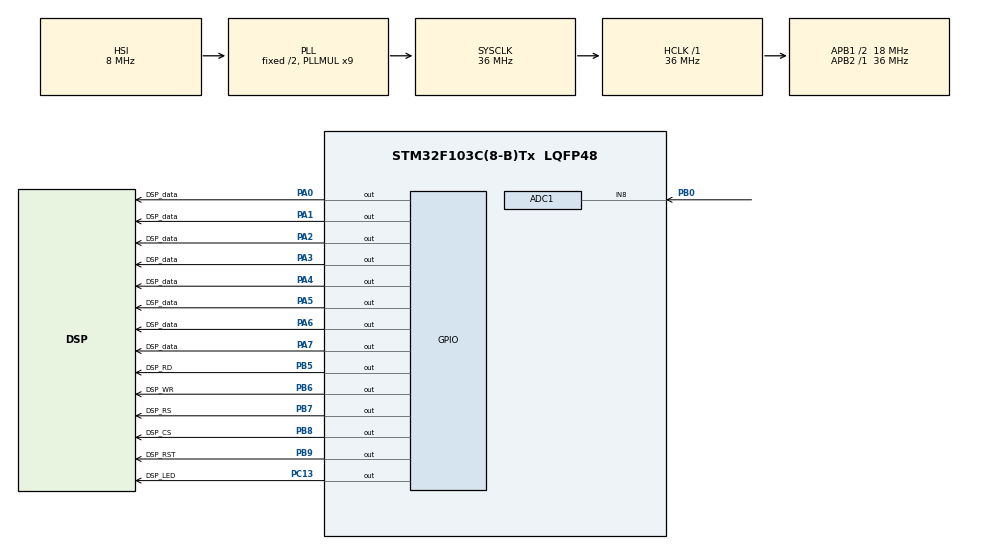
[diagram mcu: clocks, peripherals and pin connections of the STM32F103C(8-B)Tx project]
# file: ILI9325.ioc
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ADC1.Channel-0\#ChannelRegularConversion=ADC_CHANNEL_8
ADC1.ExternalTrigConv=ADC_EXTERNALTRIGCONV_T3_TRGO
ADC1.NbrOfConversionFlag=1
ADC1.Rank-0\#ChannelRegularConversion=1
ADC1.SamplingTime-0\#ChannelRegularConversion=ADC_SAMPLETIME_1CYCLE_5
ADC1.master=1
Mcu.Family=STM32F1
Mcu.Name=STM32F103C(8-B)Tx
Mcu.Package=LQFP48
NVIC.PriorityGroup=NVIC_PRIORITYGROUP_4
NVIC.TIM3_IRQn=true\:0\:0\:false\:false\:true\:true\:true
PA0-WKUP.GPIO_Label=DSP_data
PA0-WKUP.GPIO_ModeDefaultOutputPP=GPIO_MODE_OUTPUT_PP
PA0-WKUP.GPIO_Speed=GPIO_SPEED_FREQ_HIGH
PA0-WKUP.PinState=GPIO_PIN_RESET
PA0-WKUP.Signal=GPIO_Output
PA1.GPIO_Label=DSP_data
PA1.GPIO_ModeDefaultOutputPP=GPIO_MODE_OUTPUT_PP
PA1.GPIO_Speed=GPIO_SPEED_FREQ_HIGH
PA1.PinState=GPIO_PIN_RESET
PA1.Signal=GPIO_Output
PA13.Mode=Serial_Wire
PA13.Signal=SYS_JTMS-SWDIO
PA14.Mode=Serial_Wire
PA14.Signal=SYS_JTCK-SWCLK
PA2.GPIO_Label=DSP_data
PA2.GPIO_ModeDefaultOutputPP=GPIO_MODE_OUTPUT_PP
PA2.GPIO_Speed=GPIO_SPEED_FREQ_HIGH
PA2.PinState=GPIO_PIN_RESET
PA2.Signal=GPIO_Output
PA3.GPIO_Label=DSP_data
PA3.GPIO_ModeDefaultOutputPP=GPIO_MODE_OUTPUT_PP
PA3.GPIO_Speed=GPIO_SPEED_FREQ_HIGH
PA3.PinState=GPIO_PIN_RESET
PA3.Signal=GPIO_Output
PA4.GPIO_Label=DSP_data
PA4.GPIO_ModeDefaultOutputPP=GPIO_MODE_OUTPUT_PP
PA4.GPIO_Speed=GPIO_SPEED_FREQ_HIGH
PA4.PinState=GPIO_PIN_RESET
PA4.Signal=GPIO_Output
PA5.GPIO_Label=DSP_data
PA5.GPIO_ModeDefaultOutputPP=GPIO_MODE_OUTPUT_PP
PA5.GPIO_Speed=GPIO_SPEED_FREQ_HIGH
PA5.PinState=GPIO_PIN_RESET
PA5.Signal=GPIO_Output
PA6.GPIO_Label=DSP_data
PA6.GPIO_ModeDefaultOutputPP=GPIO_MODE_OUTPUT_PP
PA6.GPIO_Speed=GPIO_SPEED_FREQ_HIGH
PA6.PinState=GPIO_PIN_RESET
PA6.Signal=GPIO_Output
PA7.GPIO_Label=DSP_data
PA7.GPIO_ModeDefaultOutputPP=GPIO_MODE_OUTPUT_PP
PA7.GPIO_Speed=GPIO_SPEED_FREQ_HIGH
PA7.PinState=GPIO_PIN_RESET
PA7.Signal=GPIO_Output
PB0.Signal=ADCx_IN8
PB5.GPIO_Label=DSP_RD
PB5.GPIO_ModeDefaultOutputPP=GPIO_MODE_OUTPUT_PP
PB5.GPIO_Speed=GPIO_SPEED_FREQ_HIGH
PB5.PinState=GPIO_PIN_RESET
PB5.Signal=GPIO_Output
PB6.GPIO_Label=DSP_WR
PB6.GPIO_ModeDefaultOutputPP=GPIO_MODE_OUTPUT_PP
PB6.GPIO_Speed=GPIO_SPEED_FREQ_HIGH
PB6.PinState=GPIO_PIN_RESET
PB6.Signal=GPIO_Output
PB7.GPIO_Label=DSP_RS
PB7.GPIO_ModeDefaultOutputPP=GPIO_MODE_OUTPUT_PP
PB7.GPIO_Speed=GPIO_SPEED_FREQ_HIGH
PB7.PinState=GPIO_PIN_RESET
PB7.Signal=GPIO_Output
PB8.GPIO_Label=DSP_CS
PB8.GPIO_ModeDefaultOutputPP=GPIO_MODE_OUTPUT_PP
PB8.GPIO_Speed=GPIO_SPEED_FREQ_HIGH
PB8.PinState=GPIO_PIN_RESET
PB8.Signal=GPIO_Output
PB9.GPIO_Label=DSP_RST
PB9.GPIO_ModeDefaultOutputPP=GPIO_MODE_OUTPUT_PP
PB9.GPIO_Speed=GPIO_SPEED_FREQ_HIGH
PB9.PinState=GPIO_PIN_RESET
PB9.Signal=GPIO_Output
PC13-TAMPER-RTC.GPIO_Label=DSP_LED
PC13-TAMPER-RTC.GPIO_ModeDefaultOutputPP=GPIO_MODE_OUTPUT_PP
PC13-TAMPER-RTC.GPIO_Speed=GPIO_SPEED_FREQ_HIGH
PC13-TAMPER-RTC.PinState=GPIO_PIN_RESET
PC13-TAMPER-RTC.Signal=GPIO_Output
ProjectManager.HeapSize=0x200
ProjectManager.StackSize=0x400
ProjectManager.TargetToolchain=Makefile
RCC.ADCPresc=RCC_ADCPCLK2_DIV6
RCC.AHBFreq_Value=36000000
RCC.APB1CLKDivider=RCC_HCLK_DIV2
RCC.APB1Freq_Value=18000000
RCC.APB1TimFreq_Value=36000000
RCC.APB2Freq_Value=36000000
RCC.APB2TimFreq_Value=36000000
RCC.HCLKFreq_Value=36000000
RCC.PLLMUL=RCC_PLL_MUL9
RCC.SYSCLKFreq_VALUE=36000000
RCC.SYSCLKSource=RCC_SYSCLKSOURCE_PLLCLK
RCC.USBFreq_Value=36000000
SH.ADCx_IN8.0=ADC1_IN8,IN8
TIM3.Period=12-1
TIM3.Prescaler=120-1
TIM3.TIM_MasterOutputTrigger=TIM_TRGO_UPDATE
VP_TIM3_VS_ClockSourceINT.Mode=Internal
board=ILI9325

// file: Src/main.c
/* USER CODE BEGIN Header */
/**
  ******************************************************************************
  * @file           : main.c
  * @brief          : Main program body
  ******************************************************************************
  * @attention
  *
  * <h2><center>&copy; Copyright (c) 2020 STMicroelectronics.
  * All rights reserved.</center></h2>
  *
  * This software component is licensed by ST under BSD 3-Clause license,
  * the "License"; You may not use this file except in compliance with the
  * License. You may obtain a copy of the License at:
  *                        opensource.org/licenses/BSD-3-Clause
  *
  ******************************************************************************
  */
/* USER CODE END Header */

#include "main.h"
#include "adc.h"
#include "tim.h"
#include "gpio.h"

/* USER CODE BEGIN Includes */
#include <math.h>
#include "osc.h"
#include "tft_base.h"
#include "utoa.h"
// #include "myimage.h"

#pragma GCC diagnostic ignored "-Wimplicit-function-declaration"

#define SYSCLK_FREQ_128MHz

#define M_PI 3.14159
/* USER CODE END Includes */

/* USER CODE BEGIN PV */
/* Private variables ---------------------------------------------------------*/
extern TIM_HandleTypeDef htim3;
extern uint16_t BACK_COLOR,POINT_COLOR;

/* USER CODE END PV */

void SystemClock_Config(void);
/* USER CODE BEGIN PFP */
/* Private function prototypes -----------------------------------------------*/

/* USER CODE END PFP */

int main(void)
{

  /* MCU Configuration--------------------------------------------------------*/

  /* Reset of all peripherals, Initializes the Flash interface and the Systick. */
  HAL_Init();

  /* Configure the system clock */
  SystemClock_Config();

  /* USER CODE BEGIN SysInit */
  HAL_RCC_DeInit();
  SystemClock_Config128();

  /* USER CODE END SysInit */

  /* Initialize all configured peripherals */
  MX_GPIO_Init();
  MX_ADC1_Init();
  MX_TIM3_Init();
  /* USER CODE BEGIN 2 */
  tft_reset();
  //lcd_model(0x61581, 480, 320);
  lcd_model(0x9325, 240, 320);
  lcdSetup();
  tft_SetRotation(0);
  lcdFillScreen(COLOR_BLACK);
  BACK_COLOR=COLOR_RED;
  POINT_COLOR=COLOR_YELLOW;
  //tft_init();
  oscil_init();

  /* USER CODE END 2 */

  /* Infinite loop */
  /* USER CODE BEGIN WHILE */
  HAL_TIM_Base_Init(&htim3);
  HAL_TIM_PeriodElapsedCallback(&htim3);
  HAL_TIM_Base_Start_IT(&htim3); //запустим таймер
  HAL_ADC_Start(&hadc1);//запустим аналогово-цифровое преобразование

  while (1)
  {

    /* USER CODE END WHILE */

    /* USER CODE BEGIN 3 */
    oscil_run();
//     for(uint16_t i = 0; i<480; i++)
//     {
//       //lcdFillScreen(i);
//       lcdDrawLine(i, 0, i, i, COLOR_BLUE);
//       tft_puts26x48(50,50,(int8_t *)"string",TFT_STRING_MODE_NO_BACKGROUND);
//       HAL_Delay(5);
//     }

  }
  /* USER CODE END 3 */
}

void SystemClock_Config(void)
{
  RCC_OscInitTypeDef RCC_OscInitStruct = {0};
  RCC_ClkInitTypeDef RCC_ClkInitStruct = {0};
  RCC_PeriphCLKInitTypeDef PeriphClkInit = {0};

  /** Initializes the CPU, AHB and APB busses clocks
  */
  RCC_OscInitStruct.OscillatorType = RCC_OSCILLATORTYPE_HSI;
  RCC_OscInitStruct.HSIState = RCC_HSI_ON;
  RCC_OscInitStruct.HSICalibrationValue = RCC_HSICALIBRATION_DEFAULT;
  RCC_OscInitStruct.PLL.PLLState = RCC_PLL_ON;
  RCC_OscInitStruct.PLL.PLLSource = RCC_PLLSOURCE_HSI_DIV2;
  RCC_OscInitStruct.PLL.PLLMUL = RCC_PLL_MUL9;
  if (HAL_RCC_OscConfig(&RCC_OscInitStruct) != HAL_OK)
  {
    Error_Handler();
  }
  /** Initializes the CPU, AHB and APB busses clocks
  */
  RCC_ClkInitStruct.ClockType = RCC_CLOCKTYPE_HCLK|RCC_CLOCKTYPE_SYSCLK
                              |RCC_CLOCKTYPE_PCLK1|RCC_CLOCKTYPE_PCLK2;
  RCC_ClkInitStruct.SYSCLKSource = RCC_SYSCLKSOURCE_PLLCLK;
  RCC_ClkInitStruct.AHBCLKDivider = RCC_SYSCLK_DIV1;
  RCC_ClkInitStruct.APB1CLKDivider = RCC_HCLK_DIV2;
  RCC_ClkInitStruct.APB2CLKDivider = RCC_HCLK_DIV1;

  if (HAL_RCC_ClockConfig(&RCC_ClkInitStruct, FLASH_LATENCY_1) != HAL_OK)
  {
    Error_Handler();
  }
  PeriphClkInit.PeriphClockSelection = RCC_PERIPHCLK_ADC;
  PeriphClkInit.AdcClockSelection = RCC_ADCPCLK2_DIV6;
  if (HAL_RCCEx_PeriphCLKConfig(&PeriphClkInit) != HAL_OK)
  {
    Error_Handler();
  }
}

void Error_Handler(void)
{
  while(1)
  {
  }
}

/************************ (C) COPYRIGHT STMicroelectronics *****END OF FILE****/
